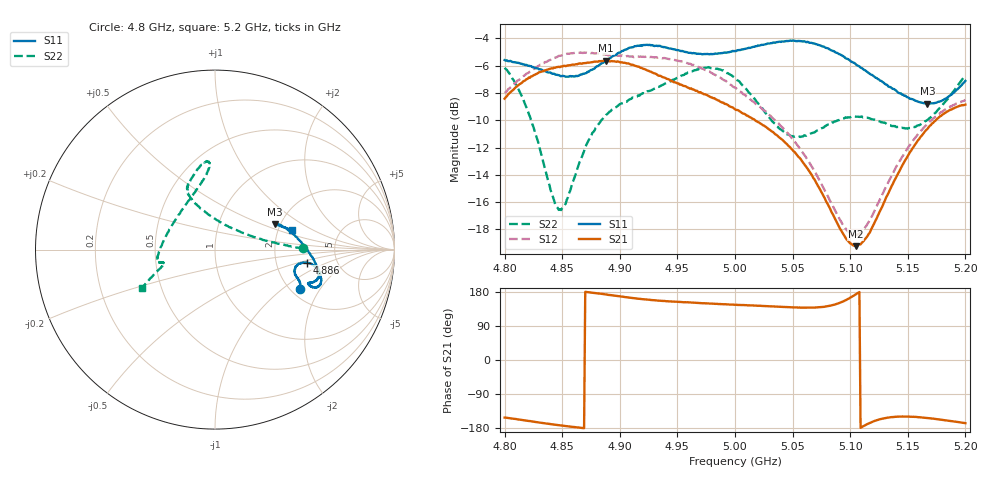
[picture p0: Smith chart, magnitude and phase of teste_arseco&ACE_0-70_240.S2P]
! Network Analyzer HP8722D
! Hewlett-Packard
! Data name: Linha & Wilkinson
! Saver's name: Rodrigo Anjos
! Comments: Teste da utilização de aquisição
! continua pelo VNA HP8722D
! Time and date: 8/5/2025 14:45
!  Frequency  S11  S21  S12  S22
# HZ  S  MA R 50
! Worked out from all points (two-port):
!   401 points, 4.8 GHz to 5.2 GHz, reference 50 ohm
!   highest |S21| = -5.64 dB at 4.888 GHz (marker M1); lowest = -19.2 dB at 5.105 GHz (marker M2)
!   |S21| within 3 dB of the highest: start of sweep to 4.987 GHz
!   lowest |S11| = -8.8 dB at 5.167 GHz (marker M3), VSWR 2.14, Z = 93.7 + j30.9 ohm
!   |S11| at or under -10 dB: nowhere
!   |S22| runs from -16.6 to -6.1 dB; largest |S21 - S12| = 1.1
!   S11 on the Smith chart (normalised r, x): 4.8 GHz: 2.24, -1.37; 4.886 GHz: 3.00, -0.59; 5.2 GHz: 2.36, +0.65
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4.8e9  0.5254 -25.0  0.3794 -152.0  0.3983 7.4  0.4923 0.7
4.82e9  0.5013 -20.4  0.4484 -160.3  0.4705 4.6  0.3432 6.0
4.846e9  0.4636 -16.4  0.4956 -171.7  0.5411 0.3  0.1512 54.3
4.853e9  0.457 -14.6  0.4992 -174.2  0.5518 -0.9  0.1563 80.5
4.867e9  0.465 -10.6  0.5097 -179.2  0.5588 -3.1  0.2317 107.2
4.886e9  0.5154 -8.0  0.5221 173.9  0.5511 -3.8  0.3229 115.4
4.888e9  0.5238 -8.3  0.5223 172.9  0.5497 -3.9  0.3302 115.5
4.911e9  0.585 -11.6  0.5057 163.8  0.5424 -3.3  0.3833 113.9
4.934e9  0.5927 -16.7  0.4601 156.5  0.5371 -4.0  0.4191 108.0
4.975e9  0.5529 -20.0  0.3925 149.4  0.4831 -7.5  0.4931 95.7
5e9  0.5674 -20.9  0.3469 145.9  0.4169 -7.2  0.4525 94.6
5.018e9  0.5908 -20.9  0.3147 143.6  0.3631 -4.6  0.3741 102.6
5.043e9  0.6149 -18.8  0.2631 139.9  0.2923 0.8  0.2854 131.2
5.067e9  0.6069 -14.1  0.1982 138.2  0.2129 8.4  0.284 165.2
5.093e9  0.5462 -4.7  0.1227 153.4  0.1322 32.9  0.3208 -173.7
5.105e9  0.5067 1.1  0.1093 173.6  0.1201 55.8  0.3259 -169.6
5.116e9  0.4713 6.6  0.121 -167.5  0.1341 76.4  0.3222 -167.7
5.134e9  0.4191 15.5  0.1742 -151.4  0.1908 94.2  0.3034 -166.5
5.152e9  0.3788 21.8  0.242 -149.6  0.2568 99.0  0.2962 -164.7
5.167e9  0.3639 23.1  0.2937 -153.1  0.3068 99.6  0.3169 -161.6
5.182e9  0.3783 20.9  0.3358 -158.8  0.3454 99.6  0.3678 -157.8
5.2e9  0.4407 14.5  0.3608 -166.5  0.3757 100.2  0.4624 -152.1
